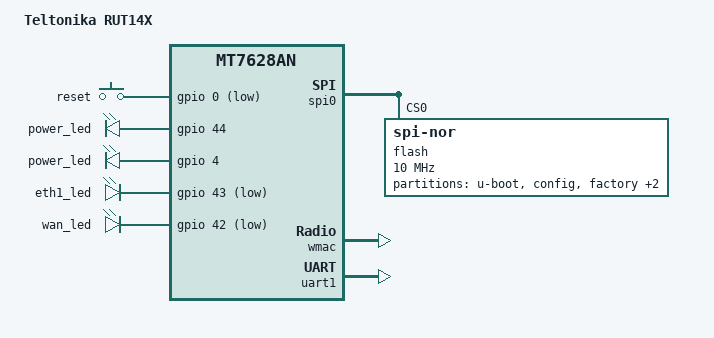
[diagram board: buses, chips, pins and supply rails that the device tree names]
// SPDX-License-Identifier: GPL-2.0-or-later OR MIT
/dts-v1/;

#include <dt-bindings/input/input.h>
#include <dt-bindings/gpio/gpio.h>
#include "mt7628an.dtsi"
#include "platform_name.dtsi"

/ {
	compatible = "teltonika,rut14x", "mediatek,mt7628an-soc";
	model = "Teltonika RUT14X";

	chosen {
		bootargs = "console=ttyS0,115200 root=/dev/mtdblock5";
	};

	keys {
		compatible = "gpio-keys";

		reset {
			label = "reset";
			gpios = <&gpio 0 GPIO_ACTIVE_LOW>;
			linux,code = <KEY_RESTART>;
		};
	};

	leds {
		compatible = "gpio-leds";

		power_led {
			label = "power_led";
			gpios = <&gpio 44 GPIO_ACTIVE_HIGH>;
			tlt-mnf,device = "RUT140", "RUT142";
			default-state = "on";
			retain-state-shutdown;
		};

		power_led@1 {
			label = "power_led";
			gpios = <&gpio 4 GPIO_ACTIVE_HIGH>;
			tlt-mnf,device = "RUT145";
			default-state = "on";
			retain-state-shutdown;
		};

		eth1_led {
			label = "eth1_led";
			gpios = <&gpio 43 GPIO_ACTIVE_LOW>;
		};

		wan_led {
			label = "wan_led";
			gpios = <&gpio 42 GPIO_ACTIVE_LOW>;
		};


	};

	tlt_gpios { // Modify according to wiki page "DTS syntax with Libgpiod changes"
		gpiochip_info {
			hw_0 {
				hwver = <0>;
				gpiochip_count = <3>;

				gpiochip_0 = <32>; // Built-in
				gpiochip_1 = <32>; // Built-in
				gpiochip_2 = <32>; // Built-in
			};
		};

		misc {
			GPIO_38 {
				line_name = "GPIO_RS485_RX_EN";
				compatible_model = "RUT145";
				mode = "output-low";
			};
			GPIO_44 {
				line_name = "GPIO_RS485_D_EN";
				compatible_model = "RUT145";
			};
		};
	};
};

&state_default {
	gpio {
		groups = "i2s", "i2c", "p4led_an", "p3led_an", "p2led_an", "p1led_an", "p0led_an", "gpio", "wled_an";
		function = "gpio";
	};
};

&spi0 {
	status = "okay";

	flash@0 {
		compatible = "jedec,spi-nor";
		reg = <0>;
		spi-max-frequency = <10000000>;

		partitions {
			compatible = "fixed-partitions";
			#address-cells = <1>;
			#size-cells = <1>;

			boot: partition@0 {
				label = "u-boot";
				reg = <0x0 0x20000>;
				read-only;
			};

			config: partition@20000 {
				compatible = "nvmem-cells";
				#address-cells = <1>;
				#size-cells = <1>;

				label = "config";
				reg = <0x020000 0x010000>;
				read-only;

				macaddr_config_0: macaddr@0 {
					reg = <0x0 0x6>;
				};
			};

			factory: partition@30000 {
				label = "factory";
				reg = <0x030000 0x030000>;
				read-only;
			};

			partition@60000 {
				compatible = "denx,uimage";
				label = "firmware";
				reg = <0x060000 0xf10000>;
			};

			partition@f70000 {
				label = "event-log";
				reg = <0xf70000 0x90000>;
			};
		};
	};
};

&mnfinfo {
	sim_count {
		default =  "0";
	};
};

&wmac {
	status = "okay";
	nvmem-cells = <&macaddr_config_0>;
	nvmem-cell-names = "mac-address";
	mac-address-increment = <2>;
	mediatek,mtd-eeprom = <&factory 0x20000>;
};

&ethernet {
	nvmem-cells = <&macaddr_config_0>;
	nvmem-cell-names = "mac-address";
};

&esw {
	mediatek,portmap = <0x3e>;
};

&uart1 {
	linux,rs485-enabled-at-boot-time;
	rs485-rts-delay = <0 0>;
	rs485-rx-during-tx;
	status = "okay";
};
